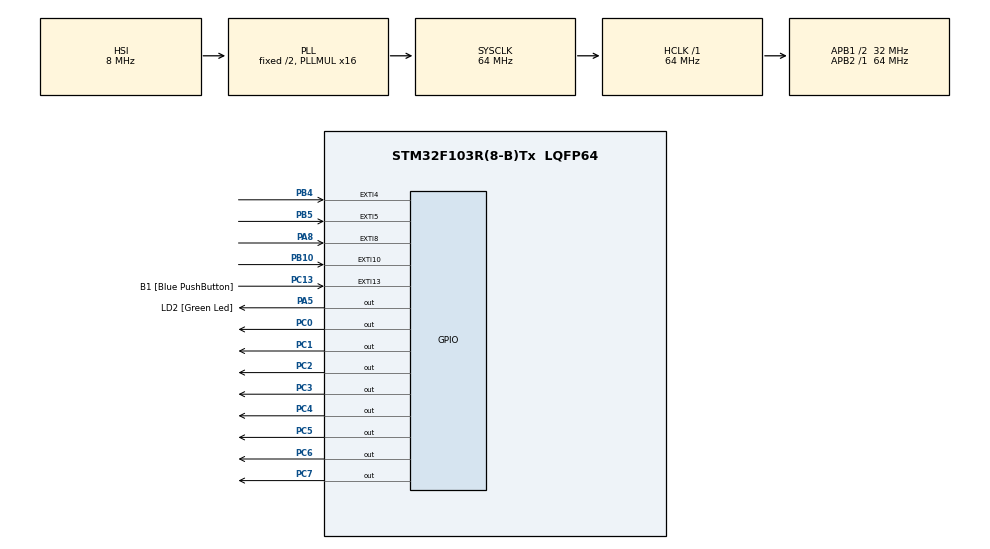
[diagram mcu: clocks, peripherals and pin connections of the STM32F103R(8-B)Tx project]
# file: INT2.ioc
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Mcu.Family=STM32F1
Mcu.Name=STM32F103R(8-B)Tx
Mcu.Package=LQFP64
NVIC.EXTI15_10_IRQn=true\:0\:0\:false\:false\:true\:true\:true\:true
NVIC.EXTI4_IRQn=true\:0\:0\:false\:false\:true\:true\:true\:true
NVIC.EXTI9_5_IRQn=true\:0\:0\:false\:false\:true\:true\:true\:true
NVIC.PriorityGroup=NVIC_PRIORITYGROUP_4
PA5.GPIO_Label=LD2 [Green Led]
PA5.GPIO_ModeDefaultOutputPP=GPIO_MODE_OUTPUT_PP
PA5.GPIO_PuPd=GPIO_NOPULL
PA5.GPIO_Speed=GPIO_SPEED_FREQ_LOW
PA5.Signal=GPIO_Output
PA8.Signal=GPXTI8
PB10.Signal=GPXTI10
PB4.Signal=GPXTI4
PB5.Signal=GPXTI5
PC0.Signal=GPIO_Output
PC1.Signal=GPIO_Output
PC13-TAMPER-RTC.GPIO_Label=B1 [Blue PushButton]
PC13-TAMPER-RTC.GPIO_PuPd=GPIO_NOPULL
PC13-TAMPER-RTC.Signal=GPXTI13
PC2.Signal=GPIO_Output
PC3.Signal=GPIO_Output
PC4.Signal=GPIO_Output
PC5.Signal=GPIO_Output
PC6.Signal=GPIO_Output
PC7.Signal=GPIO_Output
ProjectManager.HeapSize=0x200
ProjectManager.StackSize=0x400
ProjectManager.TargetToolchain=STM32CubeIDE
RCC.AHBFreq_Value=64000000
RCC.APB1CLKDivider=RCC_HCLK_DIV2
RCC.APB1Freq_Value=32000000
RCC.APB1TimFreq_Value=64000000
RCC.APB2Freq_Value=64000000
RCC.APB2TimFreq_Value=64000000
RCC.HCLKFreq_Value=64000000
RCC.PLLMUL=RCC_PLL_MUL16
RCC.RTCClockSelection=RCC_RTCCLKSOURCE_LSE
RCC.SYSCLKFreq_VALUE=64000000
RCC.SYSCLKSource=RCC_SYSCLKSOURCE_PLLCLK
RCC.USBFreq_Value=64000000
VP_SYS_VS_ND.Mode=No_Debug
board=NUCLEO-F103RB

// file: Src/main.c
/* USER CODE BEGIN Header */
/**
  ******************************************************************************
  * @file           : main.c
  * @brief          : Main program body
  ******************************************************************************
  * @attention
  *
  * Copyright (c) 2024 STMicroelectronics.
  * All rights reserved.
  *
  * This software is licensed under terms that can be found in the LICENSE file
  * in the root directory of this software component.
  * If no LICENSE file comes with this software, it is provided AS-IS.
  *
  ******************************************************************************
  */
/* USER CODE END Header */
#include "main.h"

/* USER CODE BEGIN PV */
int flag_sw1 = 0, flag_sw2 = 0;						// 플래그 초기화
/* USER CODE END PV */

void SystemClock_Config(void);
static void MX_GPIO_Init(void);
/* USER CODE BEGIN PFP */
void HAL_GPIO_EXTI_Callback(uint16_t GPIO_Pin) {
	if (GPIO_Pin == GPIO_PIN_8) {					// 스위치 1이 눌르면 플래그 1이 1이 되고 플래그 2가 0이 됨
		flag_sw1 = 1;
		flag_sw2 = 0;
	}

	else if (GPIO_Pin == GPIO_PIN_4) {				// 스위치 2이 눌르면 플래그 1이 0이 되고 플래그 2가 1이 됨
		flag_sw1 = 0;
		flag_sw2 = 1;
	}
}

void LED_OnOff(uint16_t led, int delay) {			// led가 delay시간 동안 켜졌다 꺼지는 함수
	HAL_GPIO_WritePin(GPIOC, led, GPIO_PIN_SET);
	HAL_Delay(delay);
	HAL_GPIO_WritePin(GPIOC, led, GPIO_PIN_RESET);
}
/* USER CODE END PFP */

int main(void)
{

  /* USER CODE BEGIN 1 */
	uint16_t led = 0x01;	// led 초기
  /* USER CODE END 1 */

  /* MCU Configuration--------------------------------------------------------*/

  /* Reset of all peripherals, Initializes the Flash interface and the Systick. */
  HAL_Init();

  /* Configure the system clock */
  SystemClock_Config();

  /* Initialize all configured peripherals */
  MX_GPIO_Init();
  /* USER CODE BEGIN 2 */
  LED_OnOff(0xff, 500);
  /* USER CODE END 2 */

  /* Infinite loop */
  while (1)
  {

    /* USER CODE BEGIN 3 */
	if(flag_sw1 == 1)				// 스위치 1가 눌리면 led 1~8 순서대로 켜짐
	{
		LED_OnOff(led, 100);		// 현재 led가 0.1초 동안 켜졌다가 꺼짐, led 초기값으 0x01이라 최초 1번 led가 안 켜져서 바꿈
		led <<= 1;					// led가 1씩 왼쪽으로 쉬프트 이동
		if(led > 0x80) led = 0x01;	// 만약 led 8번까지 켜지면 led는 1번으로 다시 초기화
	}
	else if(flag_sw2 == 1)			// 스위치 2가 눌리면 led 1~8 순서대로 켜짐
	{
		led >>= 1;					// led가 1씩 오른쪽으로 쉬프트 이동
		if(led < 0x01) led = 0x80;	// 만약 led 1번까지 켜지면 led는 8번으로 다시 초기화
		LED_OnOff(led, 100);		// 현재 led가 0.1초 동안 켜졌다가 꺼짐
	}
  }
  /* USER CODE END 3 */
}

void SystemClock_Config(void)
{
  RCC_OscInitTypeDef RCC_OscInitStruct = {0};
  RCC_ClkInitTypeDef RCC_ClkInitStruct = {0};

  /** Initializes the RCC Oscillators according to the specified parameters
  * in the RCC_OscInitTypeDef structure.
  */
  RCC_OscInitStruct.OscillatorType = RCC_OSCILLATORTYPE_HSI;
  RCC_OscInitStruct.HSIState = RCC_HSI_ON;
  RCC_OscInitStruct.HSICalibrationValue = RCC_HSICALIBRATION_DEFAULT;
  RCC_OscInitStruct.PLL.PLLState = RCC_PLL_ON;
  RCC_OscInitStruct.PLL.PLLSource = RCC_PLLSOURCE_HSI_DIV2;
  RCC_OscInitStruct.PLL.PLLMUL = RCC_PLL_MUL16;
  if (HAL_RCC_OscConfig(&RCC_OscInitStruct) != HAL_OK)
  {
    Error_Handler();
  }

  /** Initializes the CPU, AHB and APB buses clocks
  */
  RCC_ClkInitStruct.ClockType = RCC_CLOCKTYPE_HCLK|RCC_CLOCKTYPE_SYSCLK
                              |RCC_CLOCKTYPE_PCLK1|RCC_CLOCKTYPE_PCLK2;
  RCC_ClkInitStruct.SYSCLKSource = RCC_SYSCLKSOURCE_PLLCLK;
  RCC_ClkInitStruct.AHBCLKDivider = RCC_SYSCLK_DIV1;
  RCC_ClkInitStruct.APB1CLKDivider = RCC_HCLK_DIV2;
  RCC_ClkInitStruct.APB2CLKDivider = RCC_HCLK_DIV1;

  if (HAL_RCC_ClockConfig(&RCC_ClkInitStruct, FLASH_LATENCY_2) != HAL_OK)
  {
    Error_Handler();
  }
}

static void MX_GPIO_Init(void)
{
  GPIO_InitTypeDef GPIO_InitStruct = {0};

  /* GPIO Ports Clock Enable */
  __HAL_RCC_GPIOC_CLK_ENABLE();
  __HAL_RCC_GPIOA_CLK_ENABLE();
  __HAL_RCC_GPIOB_CLK_ENABLE();

  /*Configure GPIO pin Output Level */
  HAL_GPIO_WritePin(GPIOC, GPIO_PIN_0|GPIO_PIN_1|GPIO_PIN_2|GPIO_PIN_3
                          |GPIO_PIN_4|GPIO_PIN_5|GPIO_PIN_6|GPIO_PIN_7, GPIO_PIN_RESET);

  /*Configure GPIO pin Output Level */
  HAL_GPIO_WritePin(LD2_GPIO_Port, LD2_Pin, GPIO_PIN_RESET);

  /*Configure GPIO pin : B1_Pin */
  GPIO_InitStruct.Pin = B1_Pin;
  GPIO_InitStruct.Mode = GPIO_MODE_IT_RISING;
  GPIO_InitStruct.Pull = GPIO_NOPULL;
  HAL_GPIO_Init(B1_GPIO_Port, &GPIO_InitStruct);

  /*Configure GPIO pins : PC0 PC1 PC2 PC3
                           PC4 PC5 PC6 PC7 */
  GPIO_InitStruct.Pin = GPIO_PIN_0|GPIO_PIN_1|GPIO_PIN_2|GPIO_PIN_3
                          |GPIO_PIN_4|GPIO_PIN_5|GPIO_PIN_6|GPIO_PIN_7;
  GPIO_InitStruct.Mode = GPIO_MODE_OUTPUT_PP;
  GPIO_InitStruct.Pull = GPIO_NOPULL;
  GPIO_InitStruct.Speed = GPIO_SPEED_FREQ_LOW;
  HAL_GPIO_Init(GPIOC, &GPIO_InitStruct);

  /*Configure GPIO pin : LD2_Pin */
  GPIO_InitStruct.Pin = LD2_Pin;
  GPIO_InitStruct.Mode = GPIO_MODE_OUTPUT_PP;
  GPIO_InitStruct.Pull = GPIO_NOPULL;
  GPIO_InitStruct.Speed = GPIO_SPEED_FREQ_LOW;
  HAL_GPIO_Init(LD2_GPIO_Port, &GPIO_InitStruct);

  /*Configure GPIO pins : PB10 PB4 PB5 */
  GPIO_InitStruct.Pin = GPIO_PIN_10|GPIO_PIN_4|GPIO_PIN_5;
  GPIO_InitStruct.Mode = GPIO_MODE_IT_RISING;
  GPIO_InitStruct.Pull = GPIO_NOPULL;
  HAL_GPIO_Init(GPIOB, &GPIO_InitStruct);

  /*Configure GPIO pin : PA8 */
  GPIO_InitStruct.Pin = GPIO_PIN_8;
  GPIO_InitStruct.Mode = GPIO_MODE_IT_RISING;
  GPIO_InitStruct.Pull = GPIO_NOPULL;
  HAL_GPIO_Init(GPIOA, &GPIO_InitStruct);

  /* EXTI interrupt init*/
  HAL_NVIC_SetPriority(EXTI4_IRQn, 0, 0);
  HAL_NVIC_EnableIRQ(EXTI4_IRQn);

  HAL_NVIC_SetPriority(EXTI9_5_IRQn, 0, 0);
  HAL_NVIC_EnableIRQ(EXTI9_5_IRQn);

  HAL_NVIC_SetPriority(EXTI15_10_IRQn, 0, 0);
  HAL_NVIC_EnableIRQ(EXTI15_10_IRQn);

}

void Error_Handler(void)
{
  __disable_irq();
  while (1)
  {
  }
}
